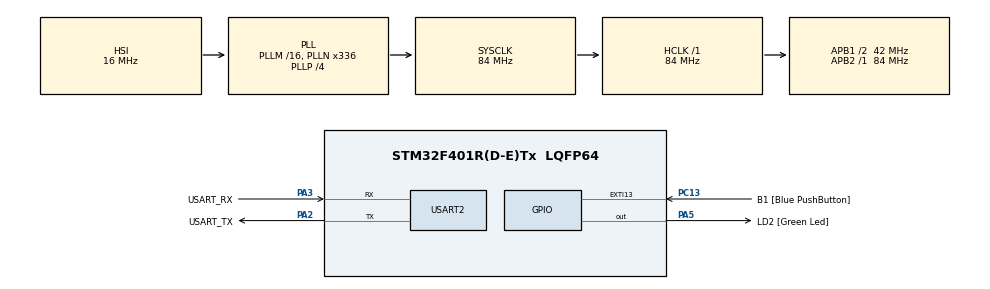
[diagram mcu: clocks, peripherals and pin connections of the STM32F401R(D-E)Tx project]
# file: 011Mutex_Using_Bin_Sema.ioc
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Mcu.Family=STM32F4
Mcu.Name=STM32F401R(D-E)Tx
Mcu.Package=LQFP64
NVIC.PriorityGroup=NVIC_PRIORITYGROUP_4
NVIC.TIM2_IRQn=true\:0\:0\:false\:false\:true\:false\:true\:true
NVIC.TimeBase=TIM2_IRQn
NVIC.TimeBaseIP=TIM2
NVIC.USART2_IRQn=true\:7\:0\:true\:false\:true\:true\:true\:true
PA13.GPIO_Label=TMS
PA13.Signal=SYS_JTMS-SWDIO
PA14.GPIO_Label=TCK
PA14.Signal=SYS_JTCK-SWCLK
PA2.GPIO_Label=USART_TX
PA2.GPIO_Mode=GPIO_MODE_AF_PP
PA2.GPIO_PuPd=GPIO_NOPULL
PA2.GPIO_Speed=GPIO_SPEED_FREQ_LOW
PA2.Mode=Asynchronous
PA2.Signal=USART2_TX
PA3.GPIO_Label=USART_RX
PA3.GPIO_Mode=GPIO_MODE_AF_PP
PA3.GPIO_PuPd=GPIO_NOPULL
PA3.GPIO_Speed=GPIO_SPEED_FREQ_LOW
PA3.Mode=Asynchronous
PA3.Signal=USART2_RX
PA5.GPIO_Label=LD2 [Green Led]
PA5.GPIO_Mode=GPIO_MODE_OUTPUT_PP
PA5.GPIO_PuPd=GPIO_NOPULL
PA5.GPIO_Speed=GPIO_SPEED_FREQ_LOW
PA5.Signal=GPIO_Output
PB3.GPIO_Label=SWO
PB3.Signal=SYS_JTDO-SWO
PC13-ANTI_TAMP.GPIO_Label=B1 [Blue PushButton]
PC13-ANTI_TAMP.GPIO_ModeDefaultEXTI=GPIO_MODE_IT_FALLING
PC13-ANTI_TAMP.GPIO_PuPd=GPIO_NOPULL
PC13-ANTI_TAMP.Signal=GPXTI13
PC14-OSC32_IN.Signal=RCC_OSC32_IN
PC15-OSC32_OUT.Signal=RCC_OSC32_OUT
PH0\ -\ OSC_IN.Signal=RCC_OSC_IN
PH1\ -\ OSC_OUT.Signal=RCC_OSC_OUT
ProjectManager.HeapSize=0x200
ProjectManager.StackSize=0x400
ProjectManager.TargetToolchain=STM32CubeIDE
RCC.AHBFreq_Value=84000000
RCC.APB1CLKDivider=RCC_HCLK_DIV2
RCC.APB1Freq_Value=42000000
RCC.APB1TimFreq_Value=84000000
RCC.APB2Freq_Value=84000000
RCC.APB2TimFreq_Value=84000000
RCC.CortexFreq_Value=84000000
RCC.HCLKFreq_Value=84000000
RCC.HSE_VALUE=8000000
RCC.HSI_VALUE=16000000
RCC.LSE_VALUE=32768
RCC.PLLN=336
RCC.PLLP=RCC_PLLP_DIV4
RCC.PLLQ=7
RCC.SYSCLKFreq_VALUE=84000000
RCC.SYSCLKSource=RCC_SYSCLKSOURCE_PLLCLK
RCC.VCOOutputFreq_Value=336000000
USART2.VirtualMode=VM_ASYNC
VP_SYS_VS_tim2.Mode=TIM2
board=NUCLEO-F401RE

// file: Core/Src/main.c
/* USER CODE BEGIN Header */
/**
  ******************************************************************************
  * @file           : main.c
  * @brief          : Main program body
  ******************************************************************************
  * @attention
  *
  * Copyright (c) 2026 STMicroelectronics.
  * All rights reserved.
  *
  * This software is licensed under terms that can be found in the LICENSE file
  * in the root directory of this software component.
  * If no LICENSE file comes with this software, it is provided AS-IS.
  *
  ******************************************************************************
  */
/* USER CODE END Header */
#include "main.h"

/* USER CODE BEGIN Includes */

#include <stdio.h>
#include <string.h>
#include "FreeRTOS.h"
#include "task.h"
#include "semphr.h"

/* USER CODE END Includes */

UART_HandleTypeDef huart2;

/* USER CODE BEGIN PV */
SemaphoreHandle_t xBinarySemaphore;
/* USER CODE END PV */

void SystemClock_Config(void);
static void MX_GPIO_Init(void);
static void MX_USART2_UART_Init(void);
/* USER CODE BEGIN PFP */
void vTask1(void *argument);
void vTask2(void *argument);
/* USER CODE END PFP */

/* USER CODE BEGIN 0 */
int __io_putchar(int ch)
{
    HAL_UART_Transmit(&huart2, (uint8_t*)&ch, 1, HAL_MAX_DELAY);
    return ch;
}
/* USER CODE END 0 */

int main(void)
{

  /* MCU Configuration--------------------------------------------------------*/

  /* Reset of all peripherals, Initializes the Flash interface and the Systick. */
  HAL_Init();

  /* Configure the system clock */
  SystemClock_Config();

  /* Initialize all configured peripherals */
  MX_GPIO_Init();
  MX_USART2_UART_Init();
  /* USER CODE BEGIN 2 */
  printf("\r\nBinary Semaphore Mutual Exclusion Demo\r\n");

  xBinarySemaphore = xSemaphoreCreateBinary();

  if(xBinarySemaphore != NULL)
  {
      xTaskCreate(vTask1,
                  "Task1",
                  256,
                  NULL,
                  1,
                  NULL);

      xTaskCreate(vTask2,
                  "Task2",
                  256,
                  NULL,
                  1,
                  NULL);

      /* semaphore initially available */
      xSemaphoreGive(xBinarySemaphore);

      vTaskStartScheduler();
  }
  else
  {
      printf("Semaphore creation failed\r\n");
  }
  /* USER CODE END 2 */

  /* Infinite loop */
  while (1)
  {

  }
}

void SystemClock_Config(void)
{
  RCC_OscInitTypeDef RCC_OscInitStruct = {0};
  RCC_ClkInitTypeDef RCC_ClkInitStruct = {0};

  /** Configure the main internal regulator output voltage
  */
  __HAL_RCC_PWR_CLK_ENABLE();
  __HAL_PWR_VOLTAGESCALING_CONFIG(PWR_REGULATOR_VOLTAGE_SCALE2);

  /** Initializes the RCC Oscillators according to the specified parameters
  * in the RCC_OscInitTypeDef structure.
  */
  RCC_OscInitStruct.OscillatorType = RCC_OSCILLATORTYPE_HSI;
  RCC_OscInitStruct.HSIState = RCC_HSI_ON;
  RCC_OscInitStruct.HSICalibrationValue = RCC_HSICALIBRATION_DEFAULT;
  RCC_OscInitStruct.PLL.PLLState = RCC_PLL_ON;
  RCC_OscInitStruct.PLL.PLLSource = RCC_PLLSOURCE_HSI;
  RCC_OscInitStruct.PLL.PLLM = 16;
  RCC_OscInitStruct.PLL.PLLN = 336;
  RCC_OscInitStruct.PLL.PLLP = RCC_PLLP_DIV4;
  RCC_OscInitStruct.PLL.PLLQ = 7;
  if (HAL_RCC_OscConfig(&RCC_OscInitStruct) != HAL_OK)
  {
    Error_Handler();
  }

  /** Initializes the CPU, AHB and APB buses clocks
  */
  RCC_ClkInitStruct.ClockType = RCC_CLOCKTYPE_HCLK|RCC_CLOCKTYPE_SYSCLK
                              |RCC_CLOCKTYPE_PCLK1|RCC_CLOCKTYPE_PCLK2;
  RCC_ClkInitStruct.SYSCLKSource = RCC_SYSCLKSOURCE_PLLCLK;
  RCC_ClkInitStruct.AHBCLKDivider = RCC_SYSCLK_DIV1;
  RCC_ClkInitStruct.APB1CLKDivider = RCC_HCLK_DIV2;
  RCC_ClkInitStruct.APB2CLKDivider = RCC_HCLK_DIV1;

  if (HAL_RCC_ClockConfig(&RCC_ClkInitStruct, FLASH_LATENCY_2) != HAL_OK)
  {
    Error_Handler();
  }
}

static void MX_USART2_UART_Init(void)
{

  huart2.Instance = USART2;
  huart2.Init.BaudRate = 115200;
  huart2.Init.WordLength = UART_WORDLENGTH_8B;
  huart2.Init.StopBits = UART_STOPBITS_1;
  huart2.Init.Parity = UART_PARITY_NONE;
  huart2.Init.Mode = UART_MODE_TX_RX;
  huart2.Init.HwFlowCtl = UART_HWCONTROL_NONE;
  huart2.Init.OverSampling = UART_OVERSAMPLING_16;
  if (HAL_UART_Init(&huart2) != HAL_OK)
  {
    Error_Handler();
  }

}

static void MX_GPIO_Init(void)
{
  GPIO_InitTypeDef GPIO_InitStruct = {0};

  /* GPIO Ports Clock Enable */
  __HAL_RCC_GPIOC_CLK_ENABLE();
  __HAL_RCC_GPIOH_CLK_ENABLE();
  __HAL_RCC_GPIOA_CLK_ENABLE();
  __HAL_RCC_GPIOB_CLK_ENABLE();

  /*Configure GPIO pin Output Level */
  HAL_GPIO_WritePin(LD2_GPIO_Port, LD2_Pin, GPIO_PIN_RESET);

  /*Configure GPIO pin : B1_Pin */
  GPIO_InitStruct.Pin = B1_Pin;
  GPIO_InitStruct.Mode = GPIO_MODE_IT_FALLING;
  GPIO_InitStruct.Pull = GPIO_NOPULL;
  HAL_GPIO_Init(B1_GPIO_Port, &GPIO_InitStruct);

  /*Configure GPIO pin : LD2_Pin */
  GPIO_InitStruct.Pin = LD2_Pin;
  GPIO_InitStruct.Mode = GPIO_MODE_OUTPUT_PP;
  GPIO_InitStruct.Pull = GPIO_NOPULL;
  GPIO_InitStruct.Speed = GPIO_SPEED_FREQ_LOW;
  HAL_GPIO_Init(LD2_GPIO_Port, &GPIO_InitStruct);

}

/* USER CODE BEGIN 4 */
void vTask1(void *argument)
{
    const char *msg = "Task 1 is running\r\n";

    while(1)
    {
        xSemaphoreTake(xBinarySemaphore, portMAX_DELAY);

        printf("%s", msg);

        xSemaphoreGive(xBinarySemaphore);

        vTaskDelay(pdMS_TO_TICKS(500));
    }
}

void vTask2(void *argument)
{
    const char *msg = "Task 2 is running\r\n";

    while(1)
    {
        xSemaphoreTake(xBinarySemaphore, portMAX_DELAY);

        printf("%s", msg);

        xSemaphoreGive(xBinarySemaphore);

        vTaskDelay(pdMS_TO_TICKS(500));
    }
}
/* USER CODE END 4 */

void HAL_TIM_PeriodElapsedCallback(TIM_HandleTypeDef *htim)
{
  if (htim->Instance == TIM2) {
    HAL_IncTick();
  }
}

void Error_Handler(void)
{
  __disable_irq();
  while (1)
  {
  }
}
